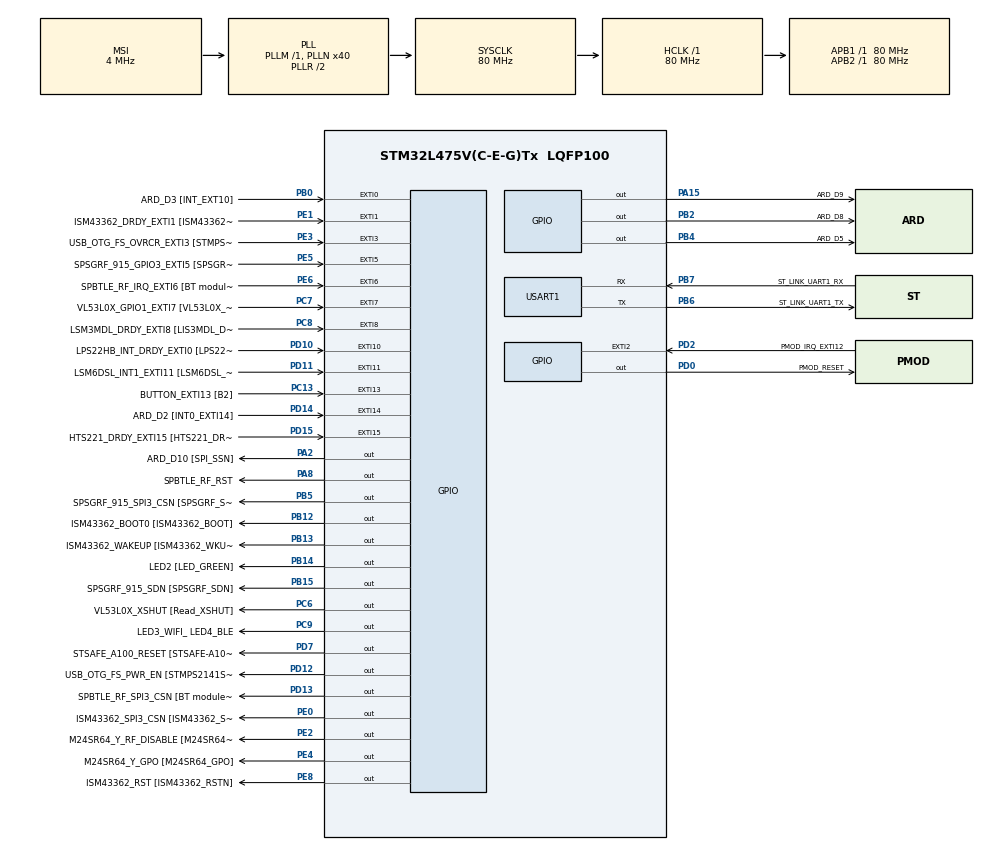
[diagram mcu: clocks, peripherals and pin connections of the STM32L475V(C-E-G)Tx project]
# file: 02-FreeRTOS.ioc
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Dma.Request0=USART1_TX
Dma.USART1_TX.0.Direction=DMA_MEMORY_TO_PERIPH
Dma.USART1_TX.0.Instance=DMA1_Channel4
Dma.USART1_TX.0.MemDataAlignment=DMA_MDATAALIGN_BYTE
Dma.USART1_TX.0.MemInc=DMA_MINC_ENABLE
Dma.USART1_TX.0.Mode=DMA_NORMAL
Dma.USART1_TX.0.PeriphDataAlignment=DMA_PDATAALIGN_BYTE
Dma.USART1_TX.0.PeriphInc=DMA_PINC_DISABLE
Dma.USART1_TX.0.Priority=DMA_PRIORITY_LOW
Mcu.Family=STM32L4
Mcu.Name=STM32L475V(C-E-G)Tx
Mcu.Package=LQFP100
NVIC.DMA1_Channel4_IRQn=true\:0\:0\:false\:false\:true\:false\:true\:true
NVIC.EXTI15_10_IRQn=true\:0\:0\:false\:false\:true\:true\:true\:true
NVIC.EXTI9_5_IRQn=true\:0\:0\:false\:false\:true\:true\:true\:true
NVIC.PriorityGroup=NVIC_PRIORITYGROUP_4
NVIC.TIM6_DAC_IRQn=true\:15\:0\:false\:false\:true\:false\:true\:true
NVIC.TimeBase=TIM6_DAC_IRQn
NVIC.TimeBaseIP=TIM6
NVIC.USART1_IRQn=true\:0\:0\:false\:false\:true\:true\:true\:true
PA0.GPIO_Label=ARD_D1 [UART4_TX]
PA0.Signal=UART4_TX
PA1.GPIO_Label=ARD_D0 [UART4_RX]
PA1.Signal=UART4_RX
PA10.GPIO_Label=USB_OTG_FS_ID
PA10.Signal=USB_OTG_FS_ID
PA11.GPIO_Label=USB_OTG_FS_DM
PA11.Signal=USB_OTG_FS_DM
PA12.GPIO_Label=USB_OTG_FS_DP
PA12.Signal=USB_OTG_FS_DP
PA13\ (JTMS-SWDIO).GPIO_Label=SYS_JTMS_SWDIO
PA13\ (JTMS-SWDIO).Signal=SYS_JTMS-SWDIO
PA14\ (JTCK-SWCLK).GPIO_Label=SYS_JTCK_SWCLK
PA14\ (JTCK-SWCLK).Signal=SYS_JTCK-SWCLK
PA15\ (JTDI).GPIO_Label=ARD_D9
PA15\ (JTDI).Signal=GPIO_Output
PA2.GPIO_Label=ARD_D10 [SPI_SSN]
PA2.Signal=GPIO_Output
PA3.GPIO_Label=ARD_D4
PA3.Signal=S_TIM2_CH4
PA4.GPIO_Label=ARD_D7
PA4.Signal=ADCx_IN9
PA5.GPIO_Label=ARD_D13 [SPI1_SCK]
PA5.Signal=SPI1_SCK
PA6.GPIO_Label=ARD_D12 [SPI1_MISO]
PA6.Signal=SPI1_MISO
PA7.GPIO_Label=ARD_D11 [SPI1_MOSI]
PA7.Signal=SPI1_MOSI
PA8.GPIO_Label=SPBTLE_RF_RST
PA8.Signal=GPIO_Output
PA9.GPIO_Label=USB_OTG_FS_VBUS [STMPS2141STR_OUT]
PA9.Signal=USB_OTG_FS_VBUS
PB0.GPIO_Label=ARD_D3 [INT_EXT10]
PB0.Signal=GPXTI0
PB1.GPIO_Label=ARD_D6 [ADC1_IN6]
PB1.Signal=ADCx_IN16
PB10.GPIO_Label=INTERNAL_I2C2_SCL [VL53L0X_SCL]
PB10.Signal=I2C2_SCL
PB11.GPIO_Label=INTERNAL_I2C2_SDA [VL53L0X_SDA]
PB11.Signal=I2C2_SDA
PB12.GPIO_Label=ISM43362_BOOT0 [ISM43362_BOOT]
PB12.Signal=GPIO_Output
PB13.GPIO_Label=ISM43362_WAKEUP [ISM43362_WKUP]
PB13.Signal=GPIO_Output
PB14.GPIO_Label=LED2 [LED_GREEN]
PB14.Signal=GPIO_Output
PB15.GPIO_Label=SPSGRF_915_SDN [SPSGRF_SDN]
PB15.Signal=GPIO_Output
PB2.GPIO_Label=ARD_D8
PB2.Signal=GPIO_Output
PB3\ (JTDO-TRACESWO).GPIO_Label=SYS_JTD0_SWO
PB3\ (JTDO-TRACESWO).Signal=SYS_JTDO-SWO
PB4\ (NJTRST).GPIO_Label=ARD_D5
PB4\ (NJTRST).Signal=GPIO_Output
PB5.GPIO_Label=SPSGRF_915_SPI3_CSN [SPSGRF_SPI_CS]
PB5.PinState=GPIO_PIN_SET
PB5.Signal=GPIO_Output
PB6.GPIO_Label=ST_LINK_UART1_TX
PB6.Mode=Asynchronous
PB6.Signal=USART1_TX
PB7.GPIO_Label=ST_LINK_UART1_RX
PB7.Mode=Asynchronous
PB7.Signal=USART1_RX
PB8.GPIO_Label=ARD_D15 [I2C1_SCL]
PB8.Signal=I2C1_SCL
PB9.GPIO_Label=ARD_D14 [I2C1_SDA]
PB9.Signal=I2C1_SDA
PC0.GPIO_Label=ARD_A5 [ADC]
PC0.Signal=ADCx_IN1
PC1.GPIO_Label=ARD_A4 [ADC]
PC1.Signal=ADCx_IN2
PC10.GPIO_Label=INTERNAL_SPI3_SCK [BT module_SPI_SCLK] [ISM43362_SCK]
PC10.Signal=SPI3_SCK
PC11.GPIO_Label=INTERNAL_SPI3_MISO [BT module_SPI_MISO] [ISM43362_MISO]
PC11.Signal=SPI3_MISO
PC12.GPIO_Label=INTERNAL_SPI3_MOSI [BT module_SPI_MOSI] [ISM43362_MOSI]
PC12.Signal=SPI3_MOSI
PC13.GPIO_Label=BUTTON_EXTI13 [B2]
PC13.GPIO_ModeDefaultEXTI=GPIO_MODE_IT_FALLING
PC13.Signal=GPXTI13
PC14-OSC32_IN\ (PC14).Signal=RCC_OSC32_IN
PC15-OSC32_OUT\ (PC15).Signal=RCC_OSC32_OUT
PC2.GPIO_Label=ARD_A3 [ADC]
PC2.Signal=ADCx_IN3
PC3.GPIO_Label=ARD_A2 [ADC]
PC3.Signal=ADCx_IN4
PC4.GPIO_Label=ARD_A1 [ADC]
PC4.Signal=ADCx_IN13
PC5.GPIO_Label=ARD_A0 [ADC]
PC5.Signal=ADCx_IN14
PC6.GPIO_Label=VL53L0X_XSHUT [Read_XSHUT]
PC6.Signal=GPIO_Output
PC7.GPIO_Label=VL53L0X_GPIO1_EXTI7 [VL53L0X_GPIO1]
PC7.Signal=GPXTI7
PC8.GPIO_Label=LSM3MDL_DRDY_EXTI8 [LIS3MDL_DRDY]
PC8.Signal=GPXTI8
PC9.GPIO_Label=LED3_WIFI_ LED4_BLE
PC9.Signal=GPIO_Output
PD0.GPIO_Label=PMOD_RESET
PD0.Signal=GPIO_Output
PD1.GPIO_Label=PMOD_SPI2_SCK
PD1.Signal=SPI2_SCK
PD10.GPIO_Label=LPS22HB_INT_DRDY_EXTI0 [LPS22HB_INT_DRDY] 
PD10.Signal=GPXTI10
PD11.GPIO_Label=LSM6DSL_INT1_EXTI11 [LSM6DSL_INT1]
PD11.Signal=GPXTI11
PD12.GPIO_Label=USB_OTG_FS_PWR_EN [STMPS2141STR_EN]
PD12.Signal=GPIO_Output
PD13.GPIO_Label=SPBTLE_RF_SPI3_CSN [BT module_SPI_CS]
PD13.PinState=GPIO_PIN_SET
PD13.Signal=GPIO_Output
PD14.GPIO_Label=ARD_D2 [INT0_EXTI14]
PD14.Signal=GPXTI14
PD15.GPIO_Label=HTS221_DRDY_EXTI15 [HTS221_DRDY]
PD15.Signal=GPXTI15
PD2.GPIO_Label=PMOD_IRQ_EXTI12
PD2.Signal=GPXTI2
PD3.GPIO_Label=PMOD_UART2_CTS
PD3.Signal=USART2_CTS
PD4.GPIO_Label=PMOD_UART2_RTS
PD4.Signal=USART2_RTS
PD5.GPIO_Label=PMOD_UART2_TX
PD5.Signal=USART2_TX
PD6.GPIO_Label=PMOD_UART2_RX
PD6.Signal=USART2_RX
PD7.GPIO_Label=STSAFE_A100_RESET [STSAFE-A100_RESET]
PD7.Signal=GPIO_Output
PD8.GPIO_Label=INTERNAL_UART3_TX [ISM43362_RX]
PD8.Signal=USART3_TX
PD9.GPIO_Label=INTERNAL_UART3_RX [ISM43362_TX]
PD9.Signal=USART3_RX
PE0.GPIO_Label=ISM43362_SPI3_CSN [ISM43362_SSN]
PE0.PinState=GPIO_PIN_SET
PE0.Signal=GPIO_Output
PE1.GPIO_Label=ISM43362_DRDY_EXTI1 [ISM43362_DATARDY]
PE1.Signal=GPXTI1
PE10.GPIO_Label=QUADSPI_CLK [MX25R6435F_SCLK]
PE10.Signal=QUADSPI_CLK
PE11.GPIO_Label=QUADSPI_NCS [MX25R6435F_SCLK]
PE11.Signal=QUADSPI_NCS
PE12.GPIO_Label=OQUADSPI_BK1_IO0 [MX25R6435F_IO0]
PE12.Signal=QUADSPI_BK1_IO0
PE13.GPIO_Label=QUADSPI_BK1_IO1 [MX25R6435F_IO1]
PE13.Signal=QUADSPI_BK1_IO1
PE14.GPIO_Label=QUAD_SPI_BK1_IO2 [MX25R6435F_IO2]
PE14.Signal=QUADSPI_BK1_IO2
PE15.GPIO_Label=QUAD_SPI_BK1_IO3 [MX25R6435F_IO3]
PE15.Signal=QUADSPI_BK1_IO3
PE2.GPIO_Label=M24SR64_Y_RF_DISABLE [M24SR64_RFDIS]
PE2.Signal=GPIO_Output
PE3.GPIO_Label=USB_OTG_FS_OVRCR_EXTI3 [STMPS2141STR_FAULT]
PE3.Signal=GPXTI3
PE4.GPIO_Label=M24SR64_Y_GPO [M24SR64_GPO]
PE4.Signal=GPIO_Output
PE5.GPIO_Label=SPSGRF_915_GPIO3_EXTI5 [SPSGRF_GPIO_3]
PE5.Signal=GPXTI5
PE6.GPIO_Label=SPBTLE_RF_IRQ_EXTI6 [BT module_SPI_IRQ]
PE6.Signal=GPXTI6
PE7.GPIO_Label=DFSDM1_DATIN2 [MP34DT01_DOUT]
PE7.Signal=S_DATAIN2DFSDM1
PE8.GPIO_Label=ISM43362_RST [ISM43362_RSTN]
PE8.Signal=GPIO_Output
PE9.GPIO_Label=DFSDM1_CKOUT [MP34DT01_CLK]
PE9.Signal=S_CKOUTDFSDM1
ProjectManager.HeapSize=0x200
ProjectManager.StackSize=0x400
ProjectManager.TargetToolchain=STM32CubeIDE
RCC.ADCFreq_Value=48000000
RCC.AHBFreq_Value=80000000
RCC.APB1Freq_Value=80000000
RCC.APB1TimFreq_Value=80000000
RCC.APB2Freq_Value=80000000
RCC.APB2TimFreq_Value=80000000
RCC.CortexFreq_Value=80000000
RCC.HCLKFreq_Value=80000000
RCC.HSE_VALUE=8000000
RCC.HSI_VALUE=16000000
RCC.LSE_VALUE=32768
RCC.MSI_VALUE=4000000
RCC.PLLN=40
RCC.PLLSAI1N=24
RCC.SYSCLKFreq_VALUE=80000000
RCC.SYSCLKSource=RCC_SYSCLKSOURCE_PLLCLK
RCC.USBFreq_Value=48000000
RCC.VCOOutputFreq_Value=160000000
SH.ADCx_IN1.0=ADC1_IN1
SH.ADCx_IN13.0=ADC1_IN13
SH.ADCx_IN14.0=ADC1_IN14
SH.ADCx_IN16.0=ADC1_IN16
SH.ADCx_IN2.0=ADC1_IN2
SH.ADCx_IN3.0=ADC1_IN3
SH.ADCx_IN4.0=ADC1_IN4
SH.ADCx_IN9.0=ADC1_IN9
SH.S_CKOUTDFSDM1.0=DFSDM1_CKOUT
SH.S_DATAIN2DFSDM1.0=DFSDM1_DATIN2
SH.S_TIM2_CH4.0=TIM2_CH4
USART1.VirtualMode-Asynchronous=VM_ASYNC
VP_SYS_VS_tim6.Mode=TIM6
board=B-L475E-IOT01A1

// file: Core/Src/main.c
/* USER CODE BEGIN Header */
/**
  ******************************************************************************
  * @file           : main.c
  * @brief          : Main program body
  ******************************************************************************
  * @attention
  *
  * Copyright (c) 2025 STMicroelectronics.
  * All rights reserved.
  *
  * This software is licensed under terms that can be found in the LICENSE file
  * in the root directory of this software component.
  * If no LICENSE file comes with this software, it is provided AS-IS.
  *
  ******************************************************************************
  */
/* USER CODE END Header */
#include "main.h"

/* USER CODE BEGIN Includes */

#include<stdio.h>

#include "FreeRTOS.h"
#include "task.h"

#include "task_h.h"
#include "task_m.h"
#include "task_l.h"

#include "app_log.h"
#include "app_log_transport.h"

/* USER CODE END Includes */

UART_HandleTypeDef huart1;
DMA_HandleTypeDef hdma_usart1_tx;

/* USER CODE BEGIN PV */

extern uint32_t SystemCoreClock;

/* USER CODE END PV */

void SystemClock_Config(void);
static void MX_GPIO_Init(void);
static void MX_DMA_Init(void);
static void MX_USART1_UART_Init(void);

/* USER CODE BEGIN 0 */

static app_log_if_t sx_app_log_if = {
    .pfn_flush = app_log_transport,
    .pfn_time = HAL_GetTick,
};

const uint8_t u8_msg[] = "FreeRTOS Example Project\r\n";

/* USER CODE END 0 */

int main(void)
{

  /* MCU Configuration--------------------------------------------------------*/

  /* Reset of all peripherals, Initializes the Flash interface and the Systick. */
  HAL_Init();

  /* Configure the system clock */
  SystemClock_Config();

  /* USER CODE BEGIN SysInit */

  log_init( &sx_app_log_if );

  /* USER CODE END SysInit */

  /* Initialize all configured peripherals */
  MX_GPIO_Init();
  MX_DMA_Init();
  MX_USART1_UART_Init();
  /* USER CODE BEGIN 2 */

    HAL_GPIO_WritePin( LED2_GPIO_Port, LED2_Pin, GPIO_PIN_SET );

  	//printf( "FreeRTOS Example Project\r\n\r\n" );
  	HAL_UART_Transmit_DMA( &huart1, u8_msg, sizeof(u8_msg)-1 );

  	while ( HAL_UART_STATE_READY != HAL_UART_GetState( &huart1 ) );

    traceSTART();

    task_h_create();
    task_m_create();
    task_l_create();

    /* Start the scheduler. */
    vTaskStartScheduler();

  /* USER CODE END 2 */

  /* Infinite loop */
  while (1)
  {

    /* USER CODE BEGIN 3 */
	  printf( "Shouldn't be here!\r\n" );
	  HAL_Delay( 1000 );
  }
  /* USER CODE END 3 */
}

void SystemClock_Config(void)
{
  RCC_OscInitTypeDef RCC_OscInitStruct = {0};
  RCC_ClkInitTypeDef RCC_ClkInitStruct = {0};

  /** Configure the main internal regulator output voltage
  */
  if (HAL_PWREx_ControlVoltageScaling(PWR_REGULATOR_VOLTAGE_SCALE1) != HAL_OK)
  {
    Error_Handler();
  }

  /** Initializes the RCC Oscillators according to the specified parameters
  * in the RCC_OscInitTypeDef structure.
  */
  RCC_OscInitStruct.OscillatorType = RCC_OSCILLATORTYPE_MSI;
  RCC_OscInitStruct.MSIState = RCC_MSI_ON;
  RCC_OscInitStruct.MSICalibrationValue = 0;
  RCC_OscInitStruct.MSIClockRange = RCC_MSIRANGE_6;
  RCC_OscInitStruct.PLL.PLLState = RCC_PLL_ON;
  RCC_OscInitStruct.PLL.PLLSource = RCC_PLLSOURCE_MSI;
  RCC_OscInitStruct.PLL.PLLM = 1;
  RCC_OscInitStruct.PLL.PLLN = 40;
  RCC_OscInitStruct.PLL.PLLP = RCC_PLLP_DIV7;
  RCC_OscInitStruct.PLL.PLLQ = RCC_PLLQ_DIV2;
  RCC_OscInitStruct.PLL.PLLR = RCC_PLLR_DIV2;
  if (HAL_RCC_OscConfig(&RCC_OscInitStruct) != HAL_OK)
  {
    Error_Handler();
  }

  /** Initializes the CPU, AHB and APB buses clocks
  */
  RCC_ClkInitStruct.ClockType = RCC_CLOCKTYPE_HCLK|RCC_CLOCKTYPE_SYSCLK
                              |RCC_CLOCKTYPE_PCLK1|RCC_CLOCKTYPE_PCLK2;
  RCC_ClkInitStruct.SYSCLKSource = RCC_SYSCLKSOURCE_PLLCLK;
  RCC_ClkInitStruct.AHBCLKDivider = RCC_SYSCLK_DIV1;
  RCC_ClkInitStruct.APB1CLKDivider = RCC_HCLK_DIV1;
  RCC_ClkInitStruct.APB2CLKDivider = RCC_HCLK_DIV1;

  if (HAL_RCC_ClockConfig(&RCC_ClkInitStruct, FLASH_LATENCY_4) != HAL_OK)
  {
    Error_Handler();
  }
}

static void MX_USART1_UART_Init(void)
{

  huart1.Instance = USART1;
  huart1.Init.BaudRate = 115200;
  huart1.Init.WordLength = UART_WORDLENGTH_8B;
  huart1.Init.StopBits = UART_STOPBITS_1;
  huart1.Init.Parity = UART_PARITY_NONE;
  huart1.Init.Mode = UART_MODE_TX_RX;
  huart1.Init.HwFlowCtl = UART_HWCONTROL_NONE;
  huart1.Init.OverSampling = UART_OVERSAMPLING_16;
  huart1.Init.OneBitSampling = UART_ONE_BIT_SAMPLE_DISABLE;
  huart1.AdvancedInit.AdvFeatureInit = UART_ADVFEATURE_NO_INIT;
  if (HAL_UART_Init(&huart1) != HAL_OK)
  {
    Error_Handler();
  }

}

static void MX_DMA_Init(void)
{

  /* DMA controller clock enable */
  __HAL_RCC_DMA1_CLK_ENABLE();

  /* DMA interrupt init */
  /* DMA1_Channel4_IRQn interrupt configuration */
  HAL_NVIC_SetPriority(DMA1_Channel4_IRQn, 0, 0);
  HAL_NVIC_EnableIRQ(DMA1_Channel4_IRQn);

}

static void MX_GPIO_Init(void)
{
  GPIO_InitTypeDef GPIO_InitStruct = {0};

  /* GPIO Ports Clock Enable */
  __HAL_RCC_GPIOE_CLK_ENABLE();
  __HAL_RCC_GPIOC_CLK_ENABLE();
  __HAL_RCC_GPIOA_CLK_ENABLE();
  __HAL_RCC_GPIOB_CLK_ENABLE();
  __HAL_RCC_GPIOD_CLK_ENABLE();

  /*Configure GPIO pin Output Level */
  HAL_GPIO_WritePin(GPIOE, M24SR64_Y_RF_DISABLE_Pin|M24SR64_Y_GPO_Pin|ISM43362_RST_Pin, GPIO_PIN_RESET);

  /*Configure GPIO pin Output Level */
  HAL_GPIO_WritePin(GPIOA, ARD_D10_Pin|SPBTLE_RF_RST_Pin|ARD_D9_Pin, GPIO_PIN_RESET);

  /*Configure GPIO pin Output Level */
  HAL_GPIO_WritePin(GPIOB, ARD_D8_Pin|ISM43362_BOOT0_Pin|ISM43362_WAKEUP_Pin|LED2_Pin
                          |SPSGRF_915_SDN_Pin|ARD_D5_Pin, GPIO_PIN_RESET);

  /*Configure GPIO pin Output Level */
  HAL_GPIO_WritePin(GPIOD, USB_OTG_FS_PWR_EN_Pin|PMOD_RESET_Pin|STSAFE_A100_RESET_Pin, GPIO_PIN_RESET);

  /*Configure GPIO pin Output Level */
  HAL_GPIO_WritePin(SPBTLE_RF_SPI3_CSN_GPIO_Port, SPBTLE_RF_SPI3_CSN_Pin, GPIO_PIN_SET);

  /*Configure GPIO pin Output Level */
  HAL_GPIO_WritePin(GPIOC, VL53L0X_XSHUT_Pin|LED3_WIFI__LED4_BLE_Pin, GPIO_PIN_RESET);

  /*Configure GPIO pin Output Level */
  HAL_GPIO_WritePin(SPSGRF_915_SPI3_CSN_GPIO_Port, SPSGRF_915_SPI3_CSN_Pin, GPIO_PIN_SET);

  /*Configure GPIO pin Output Level */
  HAL_GPIO_WritePin(ISM43362_SPI3_CSN_GPIO_Port, ISM43362_SPI3_CSN_Pin, GPIO_PIN_SET);

  /*Configure GPIO pins : M24SR64_Y_RF_DISABLE_Pin M24SR64_Y_GPO_Pin ISM43362_RST_Pin ISM43362_SPI3_CSN_Pin */
  GPIO_InitStruct.Pin = M24SR64_Y_RF_DISABLE_Pin|M24SR64_Y_GPO_Pin|ISM43362_RST_Pin|ISM43362_SPI3_CSN_Pin;
  GPIO_InitStruct.Mode = GPIO_MODE_OUTPUT_PP;
  GPIO_InitStruct.Pull = GPIO_NOPULL;
  GPIO_InitStruct.Speed = GPIO_SPEED_FREQ_LOW;
  HAL_GPIO_Init(GPIOE, &GPIO_InitStruct);

  /*Configure GPIO pins : USB_OTG_FS_OVRCR_EXTI3_Pin SPSGRF_915_GPIO3_EXTI5_Pin SPBTLE_RF_IRQ_EXTI6_Pin ISM43362_DRDY_EXTI1_Pin */
  GPIO_InitStruct.Pin = USB_OTG_FS_OVRCR_EXTI3_Pin|SPSGRF_915_GPIO3_EXTI5_Pin|SPBTLE_RF_IRQ_EXTI6_Pin|ISM43362_DRDY_EXTI1_Pin;
  GPIO_InitStruct.Mode = GPIO_MODE_IT_RISING;
  GPIO_InitStruct.Pull = GPIO_NOPULL;
  HAL_GPIO_Init(GPIOE, &GPIO_InitStruct);

  /*Configure GPIO pin : BUTTON_EXTI13_Pin */
  GPIO_InitStruct.Pin = BUTTON_EXTI13_Pin;
  GPIO_InitStruct.Mode = GPIO_MODE_IT_FALLING;
  GPIO_InitStruct.Pull = GPIO_NOPULL;
  HAL_GPIO_Init(BUTTON_EXTI13_GPIO_Port, &GPIO_InitStruct);

  /*Configure GPIO pins : ARD_A5_Pin ARD_A4_Pin ARD_A3_Pin ARD_A2_Pin
                           ARD_A1_Pin ARD_A0_Pin */
  GPIO_InitStruct.Pin = ARD_A5_Pin|ARD_A4_Pin|ARD_A3_Pin|ARD_A2_Pin
                          |ARD_A1_Pin|ARD_A0_Pin;
  GPIO_InitStruct.Mode = GPIO_MODE_ANALOG_ADC_CONTROL;
  GPIO_InitStruct.Pull = GPIO_NOPULL;
  HAL_GPIO_Init(GPIOC, &GPIO_InitStruct);

  /*Configure GPIO pins : ARD_D1_Pin ARD_D0_Pin */
  GPIO_InitStruct.Pin = ARD_D1_Pin|ARD_D0_Pin;
  GPIO_InitStruct.Mode = GPIO_MODE_AF_PP;
  GPIO_InitStruct.Pull = GPIO_NOPULL;
  GPIO_InitStruct.Speed = GPIO_SPEED_FREQ_VERY_HIGH;
  GPIO_InitStruct.Alternate = GPIO_AF8_UART4;
  HAL_GPIO_Init(GPIOA, &GPIO_InitStruct);

  /*Configure GPIO pins : ARD_D10_Pin SPBTLE_RF_RST_Pin ARD_D9_Pin */
  GPIO_InitStruct.Pin = ARD_D10_Pin|SPBTLE_RF_RST_Pin|ARD_D9_Pin;
  GPIO_InitStruct.Mode = GPIO_MODE_OUTPUT_PP;
  GPIO_InitStruct.Pull = GPIO_NOPULL;
  GPIO_InitStruct.Speed = GPIO_SPEED_FREQ_LOW;
  HAL_GPIO_Init(GPIOA, &GPIO_InitStruct);

  /*Configure GPIO pin : ARD_D4_Pin */
  GPIO_InitStruct.Pin = ARD_D4_Pin;
  GPIO_InitStruct.Mode = GPIO_MODE_AF_PP;
  GPIO_InitStruct.Pull = GPIO_NOPULL;
  GPIO_InitStruct.Speed = GPIO_SPEED_FREQ_LOW;
  GPIO_InitStruct.Alternate = GPIO_AF1_TIM2;
  HAL_GPIO_Init(ARD_D4_GPIO_Port, &GPIO_InitStruct);

  /*Configure GPIO pin : ARD_D7_Pin */
  GPIO_InitStruct.Pin = ARD_D7_Pin;
  GPIO_InitStruct.Mode = GPIO_MODE_ANALOG_ADC_CONTROL;
  GPIO_InitStruct.Pull = GPIO_NOPULL;
  HAL_GPIO_Init(ARD_D7_GPIO_Port, &GPIO_InitStruct);

  /*Configure GPIO pins : ARD_D13_Pin ARD_D12_Pin ARD_D11_Pin */
  GPIO_InitStruct.Pin = ARD_D13_Pin|ARD_D12_Pin|ARD_D11_Pin;
  GPIO_InitStruct.Mode = GPIO_MODE_AF_PP;
  GPIO_InitStruct.Pull = GPIO_NOPULL;
  GPIO_InitStruct.Speed = GPIO_SPEED_FREQ_VERY_HIGH;
  GPIO_InitStruct.Alternate = GPIO_AF5_SPI1;
  HAL_GPIO_Init(GPIOA, &GPIO_InitStruct);

  /*Configure GPIO pin : ARD_D3_Pin */
  GPIO_InitStruct.Pin = ARD_D3_Pin;
  GPIO_InitStruct.Mode = GPIO_MODE_IT_RISING;
  GPIO_InitStruct.Pull = GPIO_NOPULL;
  HAL_GPIO_Init(ARD_D3_GPIO_Port, &GPIO_InitStruct);

  /*Configure GPIO pin : ARD_D6_Pin */
  GPIO_InitStruct.Pin = ARD_D6_Pin;
  GPIO_InitStruct.Mode = GPIO_MODE_ANALOG_ADC_CONTROL;
  GPIO_InitStruct.Pull = GPIO_NOPULL;
  HAL_GPIO_Init(ARD_D6_GPIO_Port, &GPIO_InitStruct);

  /*Configure GPIO pins : ARD_D8_Pin ISM43362_BOOT0_Pin ISM43362_WAKEUP_Pin LED2_Pin
                           SPSGRF_915_SDN_Pin ARD_D5_Pin SPSGRF_915_SPI3_CSN_Pin */
  GPIO_InitStruct.Pin = ARD_D8_Pin|ISM43362_BOOT0_Pin|ISM43362_WAKEUP_Pin|LED2_Pin
                          |SPSGRF_915_SDN_Pin|ARD_D5_Pin|SPSGRF_915_SPI3_CSN_Pin;
  GPIO_InitStruct.Mode = GPIO_MODE_OUTPUT_PP;
  GPIO_InitStruct.Pull = GPIO_NOPULL;
  GPIO_InitStruct.Speed = GPIO_SPEED_FREQ_LOW;
  HAL_GPIO_Init(GPIOB, &GPIO_InitStruct);

  /*Configure GPIO pins : DFSDM1_DATIN2_Pin DFSDM1_CKOUT_Pin */
  GPIO_InitStruct.Pin = DFSDM1_DATIN2_Pin|DFSDM1_CKOUT_Pin;
  GPIO_InitStruct.Mode = GPIO_MODE_AF_PP;
  GPIO_InitStruct.Pull = GPIO_NOPULL;
  GPIO_InitStruct.Speed = GPIO_SPEED_FREQ_LOW;
  GPIO_InitStruct.Alternate = GPIO_AF6_DFSDM1;
  HAL_GPIO_Init(GPIOE, &GPIO_InitStruct);

  /*Configure GPIO pins : QUADSPI_CLK_Pin QUADSPI_NCS_Pin OQUADSPI_BK1_IO0_Pin QUADSPI_BK1_IO1_Pin
                           QUAD_SPI_BK1_IO2_Pin QUAD_SPI_BK1_IO3_Pin */
  GPIO_InitStruct.Pin = QUADSPI_CLK_Pin|QUADSPI_NCS_Pin|OQUADSPI_BK1_IO0_Pin|QUADSPI_BK1_IO1_Pin
                          |QUAD_SPI_BK1_IO2_Pin|QUAD_SPI_BK1_IO3_Pin;
  GPIO_InitStruct.Mode = GPIO_MODE_AF_PP;
  GPIO_InitStruct.Pull = GPIO_NOPULL;
  GPIO_InitStruct.Speed = GPIO_SPEED_FREQ_VERY_HIGH;
  GPIO_InitStruct.Alternate = GPIO_AF10_QUADSPI;
  HAL_GPIO_Init(GPIOE, &GPIO_InitStruct);

  /*Configure GPIO pins : INTERNAL_I2C2_SCL_Pin INTERNAL_I2C2_SDA_Pin */
  GPIO_InitStruct.Pin = INTERNAL_I2C2_SCL_Pin|INTERNAL_I2C2_SDA_Pin;
  GPIO_InitStruct.Mode = GPIO_MODE_AF_OD;
  GPIO_InitStruct.Pull = GPIO_NOPULL;
  GPIO_InitStruct.Speed = GPIO_SPEED_FREQ_VERY_HIGH;
  GPIO_InitStruct.Alternate = GPIO_AF4_I2C2;
  HAL_GPIO_Init(GPIOB, &GPIO_InitStruct);

  /*Configure GPIO pins : INTERNAL_UART3_TX_Pin INTERNAL_UART3_RX_Pin */
  GPIO_InitStruct.Pin = INTERNAL_UART3_TX_Pin|INTERNAL_UART3_RX_Pin;
  GPIO_InitStruct.Mode = GPIO_MODE_AF_PP;
  GPIO_InitStruct.Pull = GPIO_NOPULL;
  GPIO_InitStruct.Speed = GPIO_SPEED_FREQ_VERY_HIGH;
  GPIO_InitStruct.Alternate = GPIO_AF7_USART3;
  HAL_GPIO_Init(GPIOD, &GPIO_InitStruct);

  /*Configure GPIO pins : LPS22HB_INT_DRDY_EXTI0_Pin LSM6DSL_INT1_EXTI11_Pin ARD_D2_Pin HTS221_DRDY_EXTI15_Pin
                           PMOD_IRQ_EXTI12_Pin */
  GPIO_InitStruct.Pin = LPS22HB_INT_DRDY_EXTI0_Pin|LSM6DSL_INT1_EXTI11_Pin|ARD_D2_Pin|HTS221_DRDY_EXTI15_Pin
                          |PMOD_IRQ_EXTI12_Pin;
  GPIO_InitStruct.Mode = GPIO_MODE_IT_RISING;
  GPIO_InitStruct.Pull = GPIO_NOPULL;
  HAL_GPIO_Init(GPIOD, &GPIO_InitStruct);

  /*Configure GPIO pins : USB_OTG_FS_PWR_EN_Pin SPBTLE_RF_SPI3_CSN_Pin PMOD_RESET_Pin STSAFE_A100_RESET_Pin */
  GPIO_InitStruct.Pin = USB_OTG_FS_PWR_EN_Pin|SPBTLE_RF_SPI3_CSN_Pin|PMOD_RESET_Pin|STSAFE_A100_RESET_Pin;
  GPIO_InitStruct.Mode = GPIO_MODE_OUTPUT_PP;
  GPIO_InitStruct.Pull = GPIO_NOPULL;
  GPIO_InitStruct.Speed = GPIO_SPEED_FREQ_LOW;
  HAL_GPIO_Init(GPIOD, &GPIO_InitStruct);

  /*Configure GPIO pins : VL53L0X_XSHUT_Pin LED3_WIFI__LED4_BLE_Pin */
  GPIO_InitStruct.Pin = VL53L0X_XSHUT_Pin|LED3_WIFI__LED4_BLE_Pin;
  GPIO_InitStruct.Mode = GPIO_MODE_OUTPUT_PP;
  GPIO_InitStruct.Pull = GPIO_NOPULL;
  GPIO_InitStruct.Speed = GPIO_SPEED_FREQ_LOW;
  HAL_GPIO_Init(GPIOC, &GPIO_InitStruct);

  /*Configure GPIO pins : VL53L0X_GPIO1_EXTI7_Pin LSM3MDL_DRDY_EXTI8_Pin */
  GPIO_InitStruct.Pin = VL53L0X_GPIO1_EXTI7_Pin|LSM3MDL_DRDY_EXTI8_Pin;
  GPIO_InitStruct.Mode = GPIO_MODE_IT_RISING;
  GPIO_InitStruct.Pull = GPIO_NOPULL;
  HAL_GPIO_Init(GPIOC, &GPIO_InitStruct);

  /*Configure GPIO pin : USB_OTG_FS_VBUS_Pin */
  GPIO_InitStruct.Pin = USB_OTG_FS_VBUS_Pin;
  GPIO_InitStruct.Mode = GPIO_MODE_INPUT;
  GPIO_InitStruct.Pull = GPIO_NOPULL;
  HAL_GPIO_Init(USB_OTG_FS_VBUS_GPIO_Port, &GPIO_InitStruct);

  /*Configure GPIO pins : USB_OTG_FS_ID_Pin USB_OTG_FS_DM_Pin USB_OTG_FS_DP_Pin */
  GPIO_InitStruct.Pin = USB_OTG_FS_ID_Pin|USB_OTG_FS_DM_Pin|USB_OTG_FS_DP_Pin;
  GPIO_InitStruct.Mode = GPIO_MODE_AF_PP;
  GPIO_InitStruct.Pull = GPIO_NOPULL;
  GPIO_InitStruct.Speed = GPIO_SPEED_FREQ_VERY_HIGH;
  GPIO_InitStruct.Alternate = GPIO_AF10_OTG_FS;
  HAL_GPIO_Init(GPIOA, &GPIO_InitStruct);

  /*Configure GPIO pins : INTERNAL_SPI3_SCK_Pin INTERNAL_SPI3_MISO_Pin INTERNAL_SPI3_MOSI_Pin */
  GPIO_InitStruct.Pin = INTERNAL_SPI3_SCK_Pin|INTERNAL_SPI3_MISO_Pin|INTERNAL_SPI3_MOSI_Pin;
  GPIO_InitStruct.Mode = GPIO_MODE_AF_PP;
  GPIO_InitStruct.Pull = GPIO_NOPULL;
  GPIO_InitStruct.Speed = GPIO_SPEED_FREQ_VERY_HIGH;
  GPIO_InitStruct.Alternate = GPIO_AF6_SPI3;
  HAL_GPIO_Init(GPIOC, &GPIO_InitStruct);

  /*Configure GPIO pin : PMOD_SPI2_SCK_Pin */
  GPIO_InitStruct.Pin = PMOD_SPI2_SCK_Pin;
  GPIO_InitStruct.Mode = GPIO_MODE_AF_PP;
  GPIO_InitStruct.Pull = GPIO_NOPULL;
  GPIO_InitStruct.Speed = GPIO_SPEED_FREQ_VERY_HIGH;
  GPIO_InitStruct.Alternate = GPIO_AF5_SPI2;
  HAL_GPIO_Init(PMOD_SPI2_SCK_GPIO_Port, &GPIO_InitStruct);

  /*Configure GPIO pins : PMOD_UART2_CTS_Pin PMOD_UART2_RTS_Pin PMOD_UART2_TX_Pin PMOD_UART2_RX_Pin */
  GPIO_InitStruct.Pin = PMOD_UART2_CTS_Pin|PMOD_UART2_RTS_Pin|PMOD_UART2_TX_Pin|PMOD_UART2_RX_Pin;
  GPIO_InitStruct.Mode = GPIO_MODE_AF_PP;
  GPIO_InitStruct.Pull = GPIO_NOPULL;
  GPIO_InitStruct.Speed = GPIO_SPEED_FREQ_VERY_HIGH;
  GPIO_InitStruct.Alternate = GPIO_AF7_USART2;
  HAL_GPIO_Init(GPIOD, &GPIO_InitStruct);

  /*Configure GPIO pins : ARD_D15_Pin ARD_D14_Pin */
  GPIO_InitStruct.Pin = ARD_D15_Pin|ARD_D14_Pin;
  GPIO_InitStruct.Mode = GPIO_MODE_AF_OD;
  GPIO_InitStruct.Pull = GPIO_NOPULL;
  GPIO_InitStruct.Speed = GPIO_SPEED_FREQ_VERY_HIGH;
  GPIO_InitStruct.Alternate = GPIO_AF4_I2C1;
  HAL_GPIO_Init(GPIOB, &GPIO_InitStruct);

  /* EXTI interrupt init*/
  HAL_NVIC_SetPriority(EXTI9_5_IRQn, 0, 0);
  HAL_NVIC_EnableIRQ(EXTI9_5_IRQn);

  HAL_NVIC_SetPriority(EXTI15_10_IRQn, 0, 0);
  HAL_NVIC_EnableIRQ(EXTI15_10_IRQn);

}

/* USER CODE BEGIN 4 */

/*********************************************************************
*
*       vApplicationGetIdleTaskMemory()
*
*/
#if configSUPPORT_STATIC_ALLOCATION == 1
void vApplicationGetIdleTaskMemory( StaticTask_t **ppxIdleTaskTCBBuffer, StackType_t **ppxIdleTaskStackBuffer, uint32_t *pulIdleTaskStackSize ) {
  /* If the buffers to be provided to the Idle task are declared inside this
  function then they must be declared static - otherwise they will be allocated on
  the stack and so not exists after this function exits. */
  static StaticTask_t xIdleTaskTCB;
  static StackType_t uxIdleTaskStack[ configMINIMAL_STACK_SIZE ];

  /* Pass out a pointer to the StaticTask_t structure in which the Idle task's
  state will be stored. */
  *ppxIdleTaskTCBBuffer = &xIdleTaskTCB;

  /* Pass out the array that will be used as the Idle task's stack. */
  *ppxIdleTaskStackBuffer = uxIdleTaskStack;

  /* Pass out the size of the array pointed to by *ppxIdleTaskStackBuffer.
  Note that, as the array is necessarily of type StackType_t,
  configMINIMAL_STACK_SIZE is specified in words, not bytes. */
  *pulIdleTaskStackSize = configMINIMAL_STACK_SIZE;
}
#endif

/*********************************************************************
*
*       vApplicationGetTimerTaskMemory()
*
*/
/*-----------------------------------------------------------*/

#if configSUPPORT_STATIC_ALLOCATION == 1
void vApplicationGetTimerTaskMemory( StaticTask_t **ppxTimerTaskTCBBuffer, StackType_t **ppxTimerTaskStackBuffer, uint32_t *pulTimerTaskStackSize ) {
  /* If the buffers to be provided to the Timer task are declared inside this
  function then they must be declared static - otherwise they will be allocated on
  the stack and so not exists after this function exits. */
  static StaticTask_t xTimerTaskTCB;
  static StackType_t uxTimerTaskStack[ configTIMER_TASK_STACK_DEPTH ];

  /* Pass out a pointer to the StaticTask_t structure in which the Timer
  task's state will be stored. */
  *ppxTimerTaskTCBBuffer = &xTimerTaskTCB;

  /* Pass out the array that will be used as the Timer task's stack. */
  *ppxTimerTaskStackBuffer = uxTimerTaskStack;

  /* Pass out the size of the array pointed to by *ppxTimerTaskStackBuffer.
  Note that, as the array is necessarily of type StackType_t,
  configMINIMAL_STACK_SIZE is specified in words, not bytes. */
  *pulTimerTaskStackSize = configTIMER_TASK_STACK_DEPTH;
}
#endif

/* USER CODE END 4 */

void HAL_TIM_PeriodElapsedCallback(TIM_HandleTypeDef *htim)
{
  if (htim->Instance == TIM6)
  {
    HAL_IncTick();
  }
}

void Error_Handler(void)
{
  __disable_irq();
  while (1)
  {
  }
}
